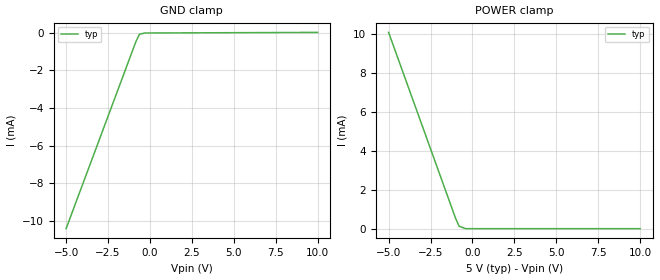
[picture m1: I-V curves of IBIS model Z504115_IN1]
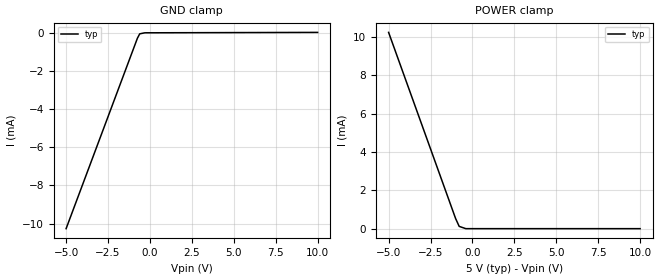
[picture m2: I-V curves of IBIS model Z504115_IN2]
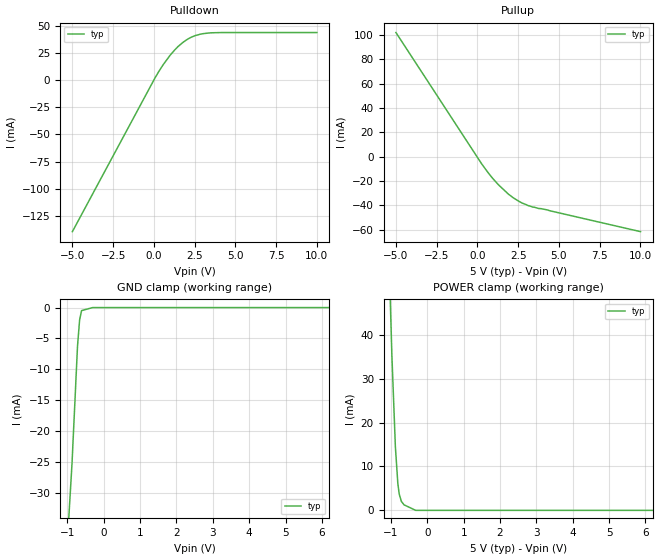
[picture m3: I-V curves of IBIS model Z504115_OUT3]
| YOU ARE ONLY AUTHORIZED TO USE THIS SOFTWARE
| ACCORDING TO LICENSOR'S LICENSE RESTRICTIONS.
[IBIS Ver] 3.1
[File Name] mc54hc58j.ibs
[File Rev] 2.0
[Source] Measured and created by ICX Technology
[Date] Friday 7/14/00 9:08:07 AM
[Copyright]
| (C) COPYRIGHT 1993-2000
| MENTOR GRAPHICS CORPORATION
| ICX STANDARD LIBRARY, ICX PROJECT MODELING,
| ICX CUSTOM MODELING, ICX VENDOR MODEL
| ALL RIGHTS RESERVED.
| THE FOLLOWING ARE TRADEMARKS OR SERVICE MARKS OF
| MENTOR GRAPHICS CORPORATION:ICX (R), ICX STANDARD
| LIBRARY(R), ICX PROJECT MODELING(R), ICX CUSTOM
| MODELING(R), qualityIBIS(TM), MODELVIEWER(TM),
| AND MODELEDITOR(TM)
| ALL COPIES OF SOFTWARE, INCLUDING BUT NOT LIMITED TO
| ANY MODIFICATIONS, ENHANCEMENTS OR DERIVATIVE WORKS,
| MUST CONTAIN ALL MENTOR GRAPHICS CORPORATION'S
| NOTICES AND LEGENDS, INCLUDING THOSE EMBEDDED IN
| SOFTWARE AND THOSE AFFIXED TO SOFTWARE MEDIUM
| AND CONTAINER, AS RECEIVED FROM MENTOR GRAPHICS
| CORPORATION.
|  ZAP Model Builder 2.7
[Component] MC54HC58J
[Manufacturer] OnSemiconductor
[Package]
| variable   typ   min   max
R_pkg  .21ohms NA NA
L_pkg  4.543nH NA NA
C_pkg  1.8pF NA NA
[Pin] signal_name  model_name  R_pin  L_pin C_pin
1 A1 Z504115_IN1 .22 6.757n 2.434p
2 A2 Z504115_IN2 .212 4.757n 1.941p
3 B2 Z504115_IN2 .204 3.257n 1.448p
4 C2 Z504115_IN2 .196 2.257n .955p
5 D2 Z504115_IN2 .204 3.257n 1.448p
6 Y2 Z504115_OUT3 .212 4.757n 1.941p
7 GROUND GND .22 6.757n 2.434p
8 Y1 Z504115_OUT4 .22 6.757n 2.434p
9 D1 Z504115_IN1 .212 4.757n 1.941p
10 E1 Z504115_IN1 .204 3.257n 1.448p
11 F1 Z504115_IN1 .196 2.257n .955p
12 B1 Z504115_IN1 .204 3.257n 1.448p
13 C1 Z504115_IN1 .212 4.757n 1.941p
14 VCC POWER .22 6.757n 2.434p
| Models and submodels in the file (4): Z504115_IN1 (Input), Z504115_IN2 (Input), Z504115_OUT3 (Output), Z504115_OUT4 (Output)
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| (C) COPYRIGHT 1993-2000
| MENTOR GRAPHICS CORPORATION
| ICX STANDARD LIBRARY, ICX PROJECT MODELING,
| ICX CUSTOM MODELING, ICX VENDOR MODEL
| ALL RIGHTS RESERVED.
| THE FOLLOWING ARE TRADEMARKS OR SERVICE MARKS OF
| MENTOR GRAPHICS CORPORATION:ICX (R), ICX STANDARD
| LIBRARY(R), ICX PROJECT MODELING(R), ICX CUSTOM
| MODELING(R), qualityIBIS(TM), MODELVIEWER(TM),
| AND MODELEDITOR(TM)
| ALL COPIES OF SOFTWARE, INCLUDING BUT NOT LIMITED TO
| ANY MODIFICATIONS, ENHANCEMENTS OR DERIVATIVE WORKS,
| MUST CONTAIN ALL MENTOR GRAPHICS CORPORATION'S
| NOTICES AND LEGENDS, INCLUDING THOSE EMBEDDED IN
| SOFTWARE AND THOSE AFFIXED TO SOFTWARE MEDIUM
| AND CONTAINER, AS RECEIVED FROM MENTOR GRAPHICS
| CORPORATION.
| Model Application Version 1.89 2/18/99.
[Model] Z504115_IN1
Model_type Input
Vinl = 1.000V
Vinh = 3.500V
C_comp 4.000pF NA NA
| variable typ   min   max
[Voltage Range] 5.000V NA NA
[GND Clamp Reference] 0.000V NA NA
[POWER Clamp Reference] 5.000V NA NA
[GND Clamp]
-5V       -10.43mA   NA         NA
-843.9mV  -478.1uA   NA         NA
-626.7mV  -69.34uA   NA         NA
-313.3mV  -2.837uA   NA         NA
10V       29.27uA    NA         NA
[POWER Clamp]
-5V       10.09mA    NA         NA
-1.006V   532.1uA    NA         NA
-791mV    119.6uA    NA         NA
-395.5mV  0A         NA         NA
10V       0A         NA         NA
| (C) COPYRIGHT 1993-2000
| MENTOR GRAPHICS CORPORATION
| ICX STANDARD LIBRARY, ICX PROJECT MODELING,
| ICX CUSTOM MODELING, ICX VENDOR MODEL
| ALL RIGHTS RESERVED.
| THE FOLLOWING ARE TRADEMARKS OR SERVICE MARKS OF
| MENTOR GRAPHICS CORPORATION:ICX (R), ICX STANDARD
| LIBRARY(R), ICX PROJECT MODELING(R), ICX CUSTOM
| MODELING(R), qualityIBIS(TM), MODELVIEWER(TM),
| AND MODELEDITOR(TM)
| ALL COPIES OF SOFTWARE, INCLUDING BUT NOT LIMITED TO
| ANY MODIFICATIONS, ENHANCEMENTS OR DERIVATIVE WORKS,
| MUST CONTAIN ALL MENTOR GRAPHICS CORPORATION'S
| NOTICES AND LEGENDS, INCLUDING THOSE EMBEDDED IN
| SOFTWARE AND THOSE AFFIXED TO SOFTWARE MEDIUM
| AND CONTAINER, AS RECEIVED FROM MENTOR GRAPHICS
| CORPORATION.
| Model Application Version 1.89 2/18/99.
[Model] Z504115_IN2
Model_type Input
Vinl = 1.000V
Vinh = 3.500V
C_comp 4.000pF NA NA
| variable typ   min   max
[Voltage Range] 5.000V NA NA
[GND Clamp Reference] 0.000V NA NA
[POWER Clamp Reference] 5.000V NA NA
[GND Clamp]
-5V       -10.27mA   NA         NA
-747.2mV  -281uA     NA         NA
-610mV    -51.44uA   NA         NA
-305mV    3.487uA    NA         NA
10V       24.75uA    NA         NA
[POWER Clamp]
-5V       10.23mA    NA         NA
-1.006V   532.3uA    NA         NA
-791mV    118.8uA    NA         NA
-395.5mV  0A         NA         NA
10V       0A         NA         NA
| (C) COPYRIGHT 1993-2000
| MENTOR GRAPHICS CORPORATION
| ICX STANDARD LIBRARY, ICX PROJECT MODELING,
| ICX CUSTOM MODELING, ICX VENDOR MODEL
| ALL RIGHTS RESERVED.
| THE FOLLOWING ARE TRADEMARKS OR SERVICE MARKS OF
| MENTOR GRAPHICS CORPORATION:ICX (R), ICX STANDARD
| LIBRARY(R), ICX PROJECT MODELING(R), ICX CUSTOM
| MODELING(R), qualityIBIS(TM), MODELVIEWER(TM),
| AND MODELEDITOR(TM)
| ALL COPIES OF SOFTWARE, INCLUDING BUT NOT LIMITED TO
| ANY MODIFICATIONS, ENHANCEMENTS OR DERIVATIVE WORKS,
| MUST CONTAIN ALL MENTOR GRAPHICS CORPORATION'S
| NOTICES AND LEGENDS, INCLUDING THOSE EMBEDDED IN
| SOFTWARE AND THOSE AFFIXED TO SOFTWARE MEDIUM
| AND CONTAINER, AS RECEIVED FROM MENTOR GRAPHICS
| CORPORATION.
| Model Application Version 1.89 2/18/99.
[Model] Z504115_OUT3
Model_type Output
Vref=0.000V
Rref=500.0Mohms
Cref=50.00pF
Vmeas=1.500V
C_comp 8.000pF NA NA
| variable typ   min   max
[Voltage Range] 5.000V NA NA
[POWER Clamp Reference] 5.000V NA NA
[Pullup Reference] 5.000V NA NA
[Pulldown Reference] 0.000V NA NA
[GND Clamp Reference] 0.000V NA NA
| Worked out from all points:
|   slope of the pulldown table from 0 to 0.75 V, typ, clamps not added: 42.2 ohm
|   slope of the pullup table from 0 to 0.75 V, typ, clamps not added: 53 ohm
|   GND clamp passes 1 mA (typ) near -0.63 V on its own axis
[GND Clamp]
-5V       -271.2mA   NA         NA
-1.246V   -56.45mA   NA         NA
-1.031V   -40.8mA    NA         NA
-873.8mV  -25.22mA   NA         NA
-722.7mV  -6.274mA   NA         NA
-664.2mV  -1.966mA   NA         NA
-610.3mV  -488.9uA   NA         NA
-305.2mV  0A         NA         NA
10V       0A         NA         NA
[Pulldown]
-5V       -139.4mA   NA         NA
83.08mV   2.378mA    NA         NA
574mV     14.23mA    NA         NA
1.001V    22.96mA    NA         NA
1.489V    30.95mA    NA         NA
1.787V    34.74mA    NA         NA
2.08V     37.75mA    NA         NA
2.556V    41.03mA    NA         NA
3.408V    43.36mA    NA         NA
10V       43.74mA    NA         NA
[Pullup]
-5V       102.1mA    NA         NA
254mV     -5.732mA   NA         NA
943mV     -17.89mA   NA         NA
1.274V    -22.85mA   NA         NA
1.904V    -30.75mA   NA         NA
2.734V    -37.99mA   NA         NA
3.393V    -41.34mA   NA         NA
10V       -61.53mA   NA         NA
[POWER Clamp]
-5V       1.625A     NA         NA
-1.308V   145.2mA    NA         NA
-1.064V   60.52mA    NA         NA
-976mV    35.51mA    NA         NA
-879mV    14.46mA    NA         NA
-811mV    6.07mA     NA         NA
-773mV    3.7mA      NA         NA
-713mV    2.012mA    NA         NA
-639mV    1.251mA    NA         NA
-319.5mV  0A         NA         NA
10V       0A         NA         NA
[Ramp]
| variable typ min max
dV/dt_r 2.738/1.585n NA NA
dV/dt_f 2.738/1.243n NA NA
R_load = 500.0Ohms
